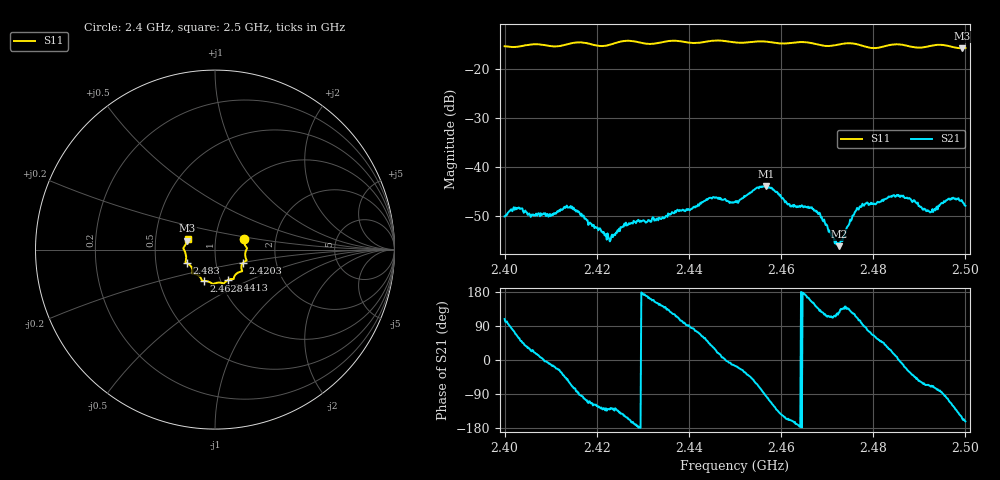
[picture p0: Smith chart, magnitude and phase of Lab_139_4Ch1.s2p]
# Hz S RI R 50
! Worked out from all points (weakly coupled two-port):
!   601 points, 2.4 GHz to 2.5 GHz, reference 50 ohm
!   highest |S21| = -43.87 dB at 2.4567 GHz (marker M1); lowest = -56.1 dB at 2.4727 GHz (marker M2)
!   lowest |S11| = -15.8 dB at 2.4993 GHz (marker M3), VSWR 1.39, Z = 36.5 + j3.73 ohm
!   |S11| at or under -10 dB: start of sweep to end of sweep
!   S12 and S22 are empty: the file has one direction only
!   S11 on the Smith chart (normalised r, x): 2.4 GHz: 1.37, +0.16; 2.4203 GHz: 1.35, -0.21; 2.4413 GHz: 1.09, -0.38; 2.4628 GHz: 0.83, -0.30; 2.483 GHz: 0.72, -0.11; 2.5 GHz: 0.73, +0.09
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2.4e9  0.1609 0.0564  -0.000982 0.00301  0 0  0 0
2.4025e9  0.165 0.03  0.00142 0.00346  0 0  0 0
2.413833e9  0.1723 -0.0502  0.00218 -0.00324  0 0  0 0
2.416667e9  0.1758 -0.0617  -0.000318 -0.00335  0 0  0 0
2.420333e9  0.1551 -0.0741  -0.0013 -0.00187  0 0  0 0
2.423e9  0.1466 -0.0992  -0.00109 -0.00147  0 0  0 0
2.4265e9  0.1517 -0.12  -0.00225 -0.0012  0 0  0 0
2.433333e9  0.1081 -0.1486  -0.00246 0.00151  0 0  0 0
2.441333e9  0.0743 -0.168  0.00088 0.00379  0 0  0 0
2.445e9  0.0524 -0.1863  0.00385 0.00288  0 0  0 0
2.45e9  0.0292 -0.1841  0.00431 -0.00119  0 0  0 0
2.456667e9  -0.0154 -0.1893  -0.000502 -0.00638  0 0  0 0
2.462833e9  -0.0628 -0.1745  -0.004 -0.00109  0 0  0 0
2.466667e9  -0.0743 -0.1675  -0.00349 0.00177  0 0  0 0
2.472667e9  -0.116 -0.1346  -0.00092 0.00128  0 0  0 0
2.476667e9  -0.1246 -0.1265  -0.00122 0.00353  0 0  0 0
2.483e9  -0.1549 -0.0766  0.00402 0.00269  0 0  0 0
2.483333e9  -0.1569 -0.0756  0.0044 0.00246  0 0  0 0
2.492167e9  -0.1705 -0.00552  0.00136 -0.00329  0 0  0 0
2.496833e9  -0.1677 0.0222  -0.00185 -0.00432  0 0  0 0
2.499333e9  -0.1545 0.0499  -0.00406 -0.00189  0 0  0 0
2.5e9  -0.1529 0.0586  -0.00386 -0.00126  0 0  0 0
